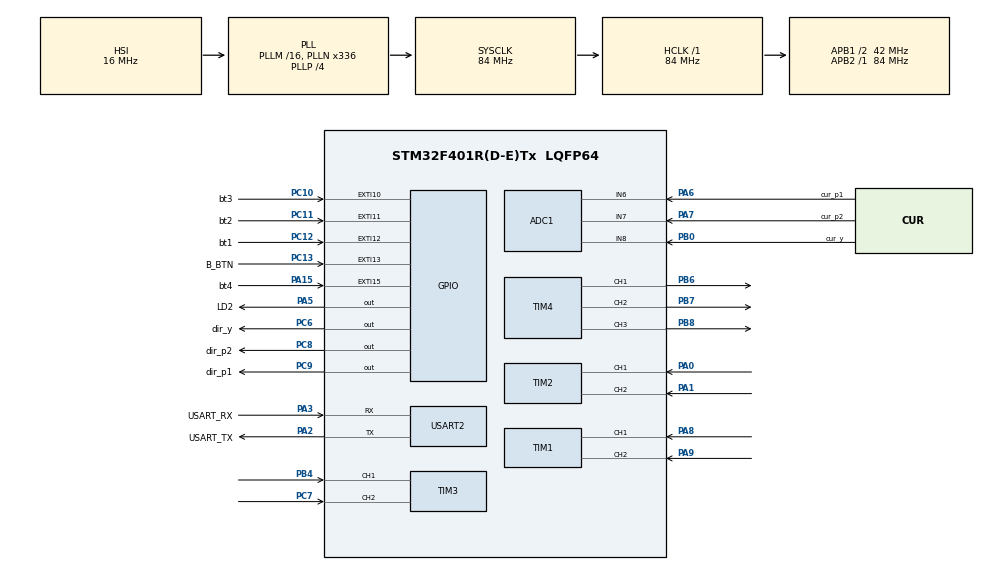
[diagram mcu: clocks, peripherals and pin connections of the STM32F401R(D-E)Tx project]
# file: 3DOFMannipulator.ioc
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ADC1.Channel-0\#ChannelRegularConversion=ADC_CHANNEL_6
ADC1.ContinuousConvMode=ENABLE
ADC1.NbrOfConversionFlag=1
ADC1.Rank-0\#ChannelRegularConversion=1
ADC1.SamplingTime-0\#ChannelRegularConversion=ADC_SAMPLETIME_3CYCLES
ADC1.master=1
Mcu.Family=STM32F4
Mcu.Name=STM32F401R(D-E)Tx
Mcu.Package=LQFP64
NVIC.ADC_IRQn=true\:0\:0\:false\:false\:true\:true\:true
NVIC.PriorityGroup=NVIC_PRIORITYGROUP_0
NVIC.TIM2_IRQn=true\:0\:0\:false\:false\:true\:true\:true
NVIC.TIM3_IRQn=true\:0\:0\:false\:false\:true\:true\:true
NVIC.TIM4_IRQn=true\:0\:0\:false\:false\:true\:true\:true
PA0-WKUP.Signal=S_TIM2_CH1_ETR
PA1.Signal=S_TIM2_CH2
PA13.GPIO_Label=TMS
PA13.Mode=Serial_Wire
PA13.Signal=SYS_JTMS-SWDIO
PA14.GPIO_Label=TCK
PA14.Mode=Serial_Wire
PA14.Signal=SYS_JTCK-SWCLK
PA15.GPIO_Label=bt4
PA15.Signal=GPXTI15
PA2.GPIO_Label=USART_TX
PA2.GPIO_Mode=GPIO_MODE_AF_PP
PA2.GPIO_PuPd=GPIO_NOPULL
PA2.GPIO_Speed=GPIO_SPEED_FREQ_LOW
PA2.Mode=Asynchronous
PA2.Signal=USART2_TX
PA3.GPIO_Label=USART_RX
PA3.GPIO_Mode=GPIO_MODE_AF_PP
PA3.GPIO_PuPd=GPIO_NOPULL
PA3.GPIO_Speed=GPIO_SPEED_FREQ_LOW
PA3.Mode=Asynchronous
PA3.Signal=USART2_RX
PA5.GPIO_Label=LD2
PA5.GPIO_PuPd=GPIO_NOPULL
PA5.GPIO_Speed=GPIO_SPEED_FREQ_LOW
PA5.Signal=GPIO_Output
PA6.GPIO_Label=cur_p1
PA6.Signal=ADCx_IN6
PA7.GPIO_Label=cur_p2
PA7.Signal=ADCx_IN7
PA8.Signal=S_TIM1_CH1
PA9.Signal=S_TIM1_CH2
PB0.GPIO_Label=cur_y
PB0.Signal=ADCx_IN8
PB3.GPIO_Label=SWO
PB3.Signal=SYS_JTDO-SWO
PB4.Signal=S_TIM3_CH1
PB6.Signal=S_TIM4_CH1
PB7.Signal=S_TIM4_CH2
PB8.Signal=S_TIM4_CH3
PC10.GPIO_Label=bt3
PC10.Signal=GPXTI10
PC11.GPIO_Label=bt2
PC11.Signal=GPXTI11
PC12.GPIO_Label=bt1
PC12.Signal=GPXTI12
PC13-ANTI_TAMP.GPIO_Label=B_BTN
PC13-ANTI_TAMP.GPIO_ModeDefaultEXTI=GPIO_MODE_IT_FALLING
PC13-ANTI_TAMP.GPIO_PuPd=GPIO_NOPULL
PC13-ANTI_TAMP.Signal=GPXTI13
PC14-OSC32_IN.Mode=LSE-External-Oscillator
PC14-OSC32_IN.Signal=RCC_OSC32_IN
PC15-OSC32_OUT.Mode=LSE-External-Oscillator
PC15-OSC32_OUT.Signal=RCC_OSC32_OUT
PC6.GPIO_Label=dir_y
PC6.Signal=GPIO_Output
PC7.Signal=S_TIM3_CH2
PC8.GPIO_Label=dir_p2
PC8.Signal=GPIO_Output
PC9.GPIO_Label=dir_p1
PC9.Signal=GPIO_Output
PH0\ -\ OSC_IN.Mode=HSE-External-Clock-Source
PH0\ -\ OSC_IN.Signal=RCC_OSC_IN
PH1\ -\ OSC_OUT.Mode=HSE-External-Clock-Source
PH1\ -\ OSC_OUT.Signal=RCC_OSC_OUT
ProjectManager.HeapSize=0x200
ProjectManager.StackSize=0x400
ProjectManager.TargetToolchain=STM32CubeIDE
RCC.48MHZClocksFreq_Value=48000000
RCC.AHBFreq_Value=84000000
RCC.APB1CLKDivider=RCC_HCLK_DIV2
RCC.APB1Freq_Value=42000000
RCC.APB1TimFreq_Value=84000000
RCC.APB2Freq_Value=84000000
RCC.APB2TimFreq_Value=84000000
RCC.CortexFreq_Value=84000000
RCC.HCLKFreq_Value=84000000
RCC.HSE_VALUE=8000000
RCC.HSI_VALUE=16000000
RCC.PLLN=336
RCC.PLLP=RCC_PLLP_DIV4
RCC.PLLQ=7
RCC.SYSCLKFreq_VALUE=84000000
RCC.SYSCLKSource=RCC_SYSCLKSOURCE_PLLCLK
RCC.VCOOutputFreq_Value=336000000
SH.ADCx_IN6.0=ADC1_IN6,IN6
SH.ADCx_IN7.0=ADC1_IN7,IN7
SH.ADCx_IN8.0=ADC1_IN8,IN8
SH.S_TIM1_CH1.0=TIM1_CH1,Encoder_Interface
SH.S_TIM1_CH2.0=TIM1_CH2,Encoder_Interface
SH.S_TIM2_CH1_ETR.0=TIM2_CH1,Encoder_Interface
SH.S_TIM2_CH2.0=TIM2_CH2,Encoder_Interface
SH.S_TIM3_CH1.0=TIM3_CH1,Encoder_Interface
SH.S_TIM3_CH2.0=TIM3_CH2,Encoder_Interface
SH.S_TIM4_CH1.0=TIM4_CH1,PWM Generation1 CH1
SH.S_TIM4_CH2.0=TIM4_CH2,PWM Generation2 CH2
SH.S_TIM4_CH3.0=TIM4_CH3,PWM Generation3 CH3
TIM4.Channel-PWM\ Generation1\ CH1=TIM_CHANNEL_1
TIM4.Channel-PWM\ Generation2\ CH2=TIM_CHANNEL_2
TIM4.Channel-PWM\ Generation3\ CH3=TIM_CHANNEL_3
USART2.VirtualMode=VM_ASYNC
board=NUCLEO-F401RE

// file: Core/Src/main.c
/* USER CODE BEGIN Header */
/**
  ******************************************************************************
  * @file           : main.c
  * @brief          : Main program body
  ******************************************************************************
  * @attention
  *
  * <h2><center>&copy; Copyright (c) 2020 STMicroelectronics.
  * All rights reserved.</center></h2>
  *
  * This software component is licensed by ST under BSD 3-Clause license,
  * the "License"; You may not use this file except in compliance with the
  * License. You may obtain a copy of the License at:
  *                        opensource.org/licenses/BSD-3-Clause
  *
  ******************************************************************************
  */
/* USER CODE END Header */

#include "main.h"

ADC_HandleTypeDef hadc1;

TIM_HandleTypeDef htim1;
TIM_HandleTypeDef htim2;
TIM_HandleTypeDef htim3;
TIM_HandleTypeDef htim4;

UART_HandleTypeDef huart2;

/* USER CODE BEGIN PV */
volatile int mode = 0;

volatile int encoder[3] = {0, };
volatile int adc[3] = {0, };
volatile int flag[3] = {0, };
volatile int cnt[3] = {0, };
volatile int endeffector[0] = {0, };

volatile float a[3] = {0, };
volatile float targetdegree, targetomega, targetcurrent, targetvoltage;

volatile float maf_data[20] 		= {0, };
volatile float maf_average 			= 0;
volatile unsigned char maf_MAX 		= 0;

volatile float enc_deg[3] 		= {0, };
volatile float cur_deg[3] 		= {0, };
volatile float pre_err_deg[3] 	= {0, };
volatile float err_deg[3] 		= {0, };
volatile float errsum_deg[3] 	= {0, };

volatile float tar_vel[3] 	= {0, };
volatile float cur_vel[3] 	= {0, };
volatile float pre_vel[3] 	= {0, };
volatile float err_vel[3] 	= {0, };
volatile float errsum_vel[3] = {0, };

volatile float tar_cur[3] 		= {0, };
volatile float cur_cur[3] 		= {0, };
volatile float pre_err_cur[3] 	= {0, };
volatile float err_cur[3] 		= {0, };
volatile float errsum_cur[3] 	= {0, };

/* USER CODE END PV */

void SystemClock_Config(void);
static void MX_GPIO_Init(void);
static void MX_USART2_UART_Init(void);
static void MX_ADC1_Init(void);
static void MX_TIM1_Init(void);
static void MX_TIM2_Init(void);
static void MX_TIM3_Init(void);
static void MX_TIM4_Init(void);

/* USER CODE BEGIN PFP */

float Pos_Control(int i, float td);
float Speed_Control(int j, float to);
float Current_Control(int k, float tc);
void DC_Output(float tv);
float MAF(float maf_input);
int _write(int fd, char *str, int len);

/* USER CODE END PFP */

int main(void)
{

  /* MCU Configuration--------------------------------------------------------*/

  /* Reset of all peripherals, Initializes the Flash interface and the Systick. */
  HAL_Init();

  /* Configure the system clock */
  SystemClock_Config();

  /* Initialize all configured peripherals */
  MX_GPIO_Init();
  MX_USART2_UART_Init();
  MX_ADC1_Init();
  MX_TIM1_Init();
  MX_TIM2_Init();
  MX_TIM3_Init();
  MX_TIM4_Init();
  /* USER CODE BEGIN 2 */

  //HAL_TIM_Base_Start(&htim1);
  HAL_TIM_Base_Start_IT(&htim4);
  HAL_TIM_Encoder_Start(&htim1, TIM_CHANNEL_ALL);
  HAL_TIM_Encoder_Start(&htim2, TIM_CHANNEL_ALL);
  HAL_TIM_Encoder_Start(&htim3, TIM_CHANNEL_ALL);
  HAL_TIM_PWM_Start(&htim4, TIM_CHANNEL_1);
  HAL_TIM_PWM_Start(&htim4, TIM_CHANNEL_2);
  HAL_TIM_PWM_Start(&htim4, TIM_CHANNEL_3);

  //HAL_GPIO_WritePin(Yaw_DIR_GPIO_Port,Yaw_DIR_Pin, 0);
  //HAL_GPIO_WritePin(P1_DIR_GPIO_Port,P1_DIR_Pin, 1);
  //HAL_GPIO_WritePin(P2_DIR_GPIO_Port,P2_DIR_Pin, 0);
  //HAL_GPIO_WritePin(LD2_GPIO_Port, LD2_Pin , 0);
  TIM4 -> CCR1 = 1-1;
  TIM4 -> CCR2 = 1-1;
  TIM4 -> CCR3 = 1-1;

  /* USER CODE END 2 */

  /* Infinite loop */
  while (1)
  {

  }
}

void SystemClock_Config(void)
{
  RCC_OscInitTypeDef RCC_OscInitStruct = {0};
  RCC_ClkInitTypeDef RCC_ClkInitStruct = {0};

  /** Configure the main internal regulator output voltage
  */
  __HAL_RCC_PWR_CLK_ENABLE();
  __HAL_PWR_VOLTAGESCALING_CONFIG(PWR_REGULATOR_VOLTAGE_SCALE2);
  /** Initializes the CPU, AHB and APB busses clocks
  */
  RCC_OscInitStruct.OscillatorType = RCC_OSCILLATORTYPE_HSI;
  RCC_OscInitStruct.HSIState = RCC_HSI_ON;
  RCC_OscInitStruct.HSICalibrationValue = RCC_HSICALIBRATION_DEFAULT;
  RCC_OscInitStruct.PLL.PLLState = RCC_PLL_ON;
  RCC_OscInitStruct.PLL.PLLSource = RCC_PLLSOURCE_HSI;
  RCC_OscInitStruct.PLL.PLLM = 16;
  RCC_OscInitStruct.PLL.PLLN = 336;
  RCC_OscInitStruct.PLL.PLLP = RCC_PLLP_DIV4;
  RCC_OscInitStruct.PLL.PLLQ = 7;
  if (HAL_RCC_OscConfig(&RCC_OscInitStruct) != HAL_OK)
  {
    Error_Handler();
  }
  /** Initializes the CPU, AHB and APB busses clocks
  */
  RCC_ClkInitStruct.ClockType = RCC_CLOCKTYPE_HCLK|RCC_CLOCKTYPE_SYSCLK
                              |RCC_CLOCKTYPE_PCLK1|RCC_CLOCKTYPE_PCLK2;
  RCC_ClkInitStruct.SYSCLKSource = RCC_SYSCLKSOURCE_PLLCLK;
  RCC_ClkInitStruct.AHBCLKDivider = RCC_SYSCLK_DIV1;
  RCC_ClkInitStruct.APB1CLKDivider = RCC_HCLK_DIV2;
  RCC_ClkInitStruct.APB2CLKDivider = RCC_HCLK_DIV1;

  if (HAL_RCC_ClockConfig(&RCC_ClkInitStruct, FLASH_LATENCY_2) != HAL_OK)
  {
    Error_Handler();
  }
}

static void MX_ADC1_Init(void)
{

  ADC_ChannelConfTypeDef sConfig = {0};

  /** Configure the global features of the ADC (Clock, Resolution, Data Alignment and number of conversion)
  */
  hadc1.Instance = ADC1;
  hadc1.Init.ClockPrescaler = ADC_CLOCK_SYNC_PCLK_DIV4;
  hadc1.Init.Resolution = ADC_RESOLUTION_12B;
  hadc1.Init.ScanConvMode = DISABLE;
  hadc1.Init.ContinuousConvMode = ENABLE;
  hadc1.Init.DiscontinuousConvMode = DISABLE;
  hadc1.Init.ExternalTrigConvEdge = ADC_EXTERNALTRIGCONVEDGE_NONE;
  hadc1.Init.ExternalTrigConv = ADC_SOFTWARE_START;
  hadc1.Init.DataAlign = ADC_DATAALIGN_RIGHT;
  hadc1.Init.NbrOfConversion = 1;
  hadc1.Init.DMAContinuousRequests = DISABLE;
  hadc1.Init.EOCSelection = ADC_EOC_SINGLE_CONV;
  if (HAL_ADC_Init(&hadc1) != HAL_OK)
  {
    Error_Handler();
  }
  /** Configure for the selected ADC regular channel its corresponding rank in the sequencer and its sample time.
  */
  sConfig.Channel = ADC_CHANNEL_6;
  sConfig.Rank = 1;
  sConfig.SamplingTime = ADC_SAMPLETIME_3CYCLES;
  if (HAL_ADC_ConfigChannel(&hadc1, &sConfig) != HAL_OK)
  {
    Error_Handler();
  }

}

static void MX_TIM1_Init(void)
{

  TIM_Encoder_InitTypeDef sConfig = {0};
  TIM_MasterConfigTypeDef sMasterConfig = {0};

  htim1.Instance = TIM1;
  htim1.Init.Prescaler = 0;
  htim1.Init.CounterMode = TIM_COUNTERMODE_UP;
  htim1.Init.Period = 0;
  htim1.Init.ClockDivision = TIM_CLOCKDIVISION_DIV1;
  htim1.Init.RepetitionCounter = 0;
  htim1.Init.AutoReloadPreload = TIM_AUTORELOAD_PRELOAD_DISABLE;
  sConfig.EncoderMode = TIM_ENCODERMODE_TI1;
  sConfig.IC1Polarity = TIM_ICPOLARITY_RISING;
  sConfig.IC1Selection = TIM_ICSELECTION_DIRECTTI;
  sConfig.IC1Prescaler = TIM_ICPSC_DIV1;
  sConfig.IC1Filter = 0;
  sConfig.IC2Polarity = TIM_ICPOLARITY_RISING;
  sConfig.IC2Selection = TIM_ICSELECTION_DIRECTTI;
  sConfig.IC2Prescaler = TIM_ICPSC_DIV1;
  sConfig.IC2Filter = 0;
  if (HAL_TIM_Encoder_Init(&htim1, &sConfig) != HAL_OK)
  {
    Error_Handler();
  }
  sMasterConfig.MasterOutputTrigger = TIM_TRGO_RESET;
  sMasterConfig.MasterSlaveMode = TIM_MASTERSLAVEMODE_DISABLE;
  if (HAL_TIMEx_MasterConfigSynchronization(&htim1, &sMasterConfig) != HAL_OK)
  {
    Error_Handler();
  }

}

static void MX_TIM2_Init(void)
{

  TIM_Encoder_InitTypeDef sConfig = {0};
  TIM_MasterConfigTypeDef sMasterConfig = {0};

  htim2.Instance = TIM2;
  htim2.Init.Prescaler = 0;
  htim2.Init.CounterMode = TIM_COUNTERMODE_UP;
  htim2.Init.Period = 0;
  htim2.Init.ClockDivision = TIM_CLOCKDIVISION_DIV1;
  htim2.Init.AutoReloadPreload = TIM_AUTORELOAD_PRELOAD_DISABLE;
  sConfig.EncoderMode = TIM_ENCODERMODE_TI1;
  sConfig.IC1Polarity = TIM_ICPOLARITY_RISING;
  sConfig.IC1Selection = TIM_ICSELECTION_DIRECTTI;
  sConfig.IC1Prescaler = TIM_ICPSC_DIV1;
  sConfig.IC1Filter = 0;
  sConfig.IC2Polarity = TIM_ICPOLARITY_RISING;
  sConfig.IC2Selection = TIM_ICSELECTION_DIRECTTI;
  sConfig.IC2Prescaler = TIM_ICPSC_DIV1;
  sConfig.IC2Filter = 0;
  if (HAL_TIM_Encoder_Init(&htim2, &sConfig) != HAL_OK)
  {
    Error_Handler();
  }
  sMasterConfig.MasterOutputTrigger = TIM_TRGO_RESET;
  sMasterConfig.MasterSlaveMode = TIM_MASTERSLAVEMODE_DISABLE;
  if (HAL_TIMEx_MasterConfigSynchronization(&htim2, &sMasterConfig) != HAL_OK)
  {
    Error_Handler();
  }

}

static void MX_TIM3_Init(void)
{

  TIM_Encoder_InitTypeDef sConfig = {0};
  TIM_MasterConfigTypeDef sMasterConfig = {0};

  htim3.Instance = TIM3;
  htim3.Init.Prescaler = 0;
  htim3.Init.CounterMode = TIM_COUNTERMODE_UP;
  htim3.Init.Period = 0;
  htim3.Init.ClockDivision = TIM_CLOCKDIVISION_DIV1;
  htim3.Init.AutoReloadPreload = TIM_AUTORELOAD_PRELOAD_DISABLE;
  sConfig.EncoderMode = TIM_ENCODERMODE_TI1;
  sConfig.IC1Polarity = TIM_ICPOLARITY_RISING;
  sConfig.IC1Selection = TIM_ICSELECTION_DIRECTTI;
  sConfig.IC1Prescaler = TIM_ICPSC_DIV1;
  sConfig.IC1Filter = 0;
  sConfig.IC2Polarity = TIM_ICPOLARITY_RISING;
  sConfig.IC2Selection = TIM_ICSELECTION_DIRECTTI;
  sConfig.IC2Prescaler = TIM_ICPSC_DIV1;
  sConfig.IC2Filter = 0;
  if (HAL_TIM_Encoder_Init(&htim3, &sConfig) != HAL_OK)
  {
    Error_Handler();
  }
  sMasterConfig.MasterOutputTrigger = TIM_TRGO_RESET;
  sMasterConfig.MasterSlaveMode = TIM_MASTERSLAVEMODE_DISABLE;
  if (HAL_TIMEx_MasterConfigSynchronization(&htim3, &sMasterConfig) != HAL_OK)
  {
    Error_Handler();
  }

}

static void MX_TIM4_Init(void)
{

  TIM_MasterConfigTypeDef sMasterConfig = {0};
  TIM_OC_InitTypeDef sConfigOC = {0};

  htim4.Instance = TIM4;
  htim4.Init.Prescaler = 0;
  htim4.Init.CounterMode = TIM_COUNTERMODE_UP;
  htim4.Init.Period = 0;
  htim4.Init.ClockDivision = TIM_CLOCKDIVISION_DIV1;
  htim4.Init.AutoReloadPreload = TIM_AUTORELOAD_PRELOAD_DISABLE;
  if (HAL_TIM_PWM_Init(&htim4) != HAL_OK)
  {
    Error_Handler();
  }
  sMasterConfig.MasterOutputTrigger = TIM_TRGO_RESET;
  sMasterConfig.MasterSlaveMode = TIM_MASTERSLAVEMODE_DISABLE;
  if (HAL_TIMEx_MasterConfigSynchronization(&htim4, &sMasterConfig) != HAL_OK)
  {
    Error_Handler();
  }
  sConfigOC.OCMode = TIM_OCMODE_PWM1;
  sConfigOC.Pulse = 0;
  sConfigOC.OCPolarity = TIM_OCPOLARITY_HIGH;
  sConfigOC.OCFastMode = TIM_OCFAST_DISABLE;
  if (HAL_TIM_PWM_ConfigChannel(&htim4, &sConfigOC, TIM_CHANNEL_1) != HAL_OK)
  {
    Error_Handler();
  }
  if (HAL_TIM_PWM_ConfigChannel(&htim4, &sConfigOC, TIM_CHANNEL_2) != HAL_OK)
  {
    Error_Handler();
  }
  if (HAL_TIM_PWM_ConfigChannel(&htim4, &sConfigOC, TIM_CHANNEL_3) != HAL_OK)
  {
    Error_Handler();
  }
  HAL_TIM_MspPostInit(&htim4);

}

static void MX_USART2_UART_Init(void)
{

  huart2.Instance = USART2;
  huart2.Init.BaudRate = 115200;
  huart2.Init.WordLength = UART_WORDLENGTH_8B;
  huart2.Init.StopBits = UART_STOPBITS_1;
  huart2.Init.Parity = UART_PARITY_NONE;
  huart2.Init.Mode = UART_MODE_TX_RX;
  huart2.Init.HwFlowCtl = UART_HWCONTROL_NONE;
  huart2.Init.OverSampling = UART_OVERSAMPLING_16;
  if (HAL_UART_Init(&huart2) != HAL_OK)
  {
    Error_Handler();
  }

}

static void MX_GPIO_Init(void)
{
  GPIO_InitTypeDef GPIO_InitStruct = {0};

  /* GPIO Ports Clock Enable */
  __HAL_RCC_GPIOC_CLK_ENABLE();
  __HAL_RCC_GPIOH_CLK_ENABLE();
  __HAL_RCC_GPIOA_CLK_ENABLE();
  __HAL_RCC_GPIOB_CLK_ENABLE();

  /*Configure GPIO pin Output Level */
  HAL_GPIO_WritePin(LD2_GPIO_Port, LD2_Pin, GPIO_PIN_RESET);

  /*Configure GPIO pin Output Level */
  HAL_GPIO_WritePin(GPIOC, dir_y_Pin|dir_p2_Pin|dir_p1_Pin, GPIO_PIN_RESET);

  /*Configure GPIO pin : B_BTN_Pin */
  GPIO_InitStruct.Pin = B_BTN_Pin;
  GPIO_InitStruct.Mode = GPIO_MODE_IT_FALLING;
  GPIO_InitStruct.Pull = GPIO_NOPULL;
  HAL_GPIO_Init(B_BTN_GPIO_Port, &GPIO_InitStruct);

  /*Configure GPIO pin : LD2_Pin */
  GPIO_InitStruct.Pin = LD2_Pin;
  GPIO_InitStruct.Mode = GPIO_MODE_OUTPUT_PP;
  GPIO_InitStruct.Pull = GPIO_NOPULL;
  GPIO_InitStruct.Speed = GPIO_SPEED_FREQ_LOW;
  HAL_GPIO_Init(LD2_GPIO_Port, &GPIO_InitStruct);

  /*Configure GPIO pins : dir_y_Pin dir_p2_Pin dir_p1_Pin */
  GPIO_InitStruct.Pin = dir_y_Pin|dir_p2_Pin|dir_p1_Pin;
  GPIO_InitStruct.Mode = GPIO_MODE_OUTPUT_PP;
  GPIO_InitStruct.Pull = GPIO_NOPULL;
  GPIO_InitStruct.Speed = GPIO_SPEED_FREQ_LOW;
  HAL_GPIO_Init(GPIOC, &GPIO_InitStruct);

  /*Configure GPIO pin : bt4_Pin */
  GPIO_InitStruct.Pin = bt4_Pin;
  GPIO_InitStruct.Mode = GPIO_MODE_IT_RISING;
  GPIO_InitStruct.Pull = GPIO_NOPULL;
  HAL_GPIO_Init(bt4_GPIO_Port, &GPIO_InitStruct);

  /*Configure GPIO pins : bt3_Pin bt2_Pin bt1_Pin */
  GPIO_InitStruct.Pin = bt3_Pin|bt2_Pin|bt1_Pin;
  GPIO_InitStruct.Mode = GPIO_MODE_IT_RISING;
  GPIO_InitStruct.Pull = GPIO_NOPULL;
  HAL_GPIO_Init(GPIOC, &GPIO_InitStruct);

}

/* USER CODE BEGIN 4 */
void HAL_GPIO_EXTI_Callback(uint16_t GPIO_Pin){
   if(GPIO_Pin == bt1_Pin){
      HAL_TIM_PWM_Stop(&htim4, TIM_CHANNEL_1);
      HAL_TIM_PWM_Stop(&htim4, TIM_CHANNEL_2);
      HAL_TIM_PWM_Stop(&htim4, TIM_CHANNEL_3);
   }
   else if(GPIO_Pin == bt2_Pin){
	   if(enc_deg[0] = 30) endeffector[0] = 20;
	   if(enc_deg[1] = 30) endeffector[1] = 20;
	   if(enc_deg[2] = 30) endeffector[2] = 20;
   }
   else if(GPIO_Pin == bt3_Pin){
	   if(enc_deg[0] = 30) endeffector[0] = 30;
	   if(enc_deg[1] = 30) endeffector[1] = 30;
	   if(enc_deg[2] = 30) endeffector[2] = 30;
   }
   else if(GPIO_Pin == bt4_Pin){
	   if(enc_deg[0] = 30) endeffector[0] = 40;
	   if(enc_deg[1] = 30) endeffector[1] = 40;
	   if(enc_deg[2] = 30) endeffector[2] = 40;
   }
}

void HAL_TIM_PeriodElapsedCallback(TIM_HandleTypeDef *htim){
   if(htim-> Instance == TIM4){
      if(cnt[0] == 1000){
         //////Encoder Set//////
         encoder[0] = TIM1->CNT;
         encoder[1] = TIM2->CNT;
         encoder[2] = TIM3->CNT;
         enc_deg[0] = encoder[0]*0.03269;
         enc_deg[1] = encoder[1]*0.03269;
         enc_deg[2] = encoder[2]*0.0498063;

         //////Control Section///////
         DC_Output(Current_Control(0, Speed_Control(0, Pos_Control(0, endeffector[0]))));
         DC_Output(Current_Control(0, Speed_Control(0, Pos_Control(0, endeffector[1]))));
         DC_Output(Current_Control(0, Speed_Control(0, Pos_Control(0, endeffector[2]))));
         cnt[0] = 0;
      }
      cnt[0]++;
   }
}

float Pos_Control(int i, float td){
	err_deg[i] = td - cur_deg[i];
	targetomega = Kp_pos[i] * err_deg[i] + Kd_pos[i] * (err_deg[i] - pre_err_deg[i]) * 2;
	return targetomega;
}

float Speed_Control(int j, float to){
	tar_vel[j] = to;
	cur_vel[j] = 0;
	err_vel[j] = tar_vel[j] - cur_vel[j];
	errsum_vel[j] += err_vel[j];

	targetcurrent = Kp_vel[j] * err_vel[j] + Ki_vel[j] * errsum_vel[j] *0.05;
	return targetcurrent;
}

float Current_Control(int k, float tc){
	tar_cur[k] = tc;
	cur_cur[k] = 0;
	err_cur[k] = tar_cur[k] - cur_cur[k];
	errsum_cur[k] += err_cur[k];

	targetvoltage = Kp_cur[k] * err_cur[k] + Ki_cur[k] * errsum_cur[k] *0.05;
	return targetvoltage;
}

float MAF(float maf_input){
   maf_average = maf_average + (maf_input - maf_data[0])/20;
   for (maf_MAX = 0; maf_MAX < 20 - 1; maf_MAX++){
	   maf_data[maf_MAX] = maf_data[maf_MAX+1];
	   maf_data[maf_MAX] = maf_input;
   }

   return maf_average;
}

void DC_Output(float tv){
	if (tv >= 0.0)
		HAL_GPIO_WritePin(dir_y_GPIO_Port, dir_y_Pin, 1);
	else{
		HAL_GPIO_WritePin(dir_y_GPIO_Port, dir_y_Pin, 0);
		tv *= -1.0;
	}
   TIM4->CCR1 = (tv/12)*(100.0-1);
}

int _write(int fd, char *str, int len){
   for(int i=0; i<len; i++){
      HAL_UART_Transmit(&huart2, (uint8_t *)&str[i], 1, 0xFFFF);
   }
   return len;
}

/* USER CODE END 4 */

void Error_Handler(void)
{
}

/************************ (C) COPYRIGHT STMicroelectronics *****END OF FILE****/
